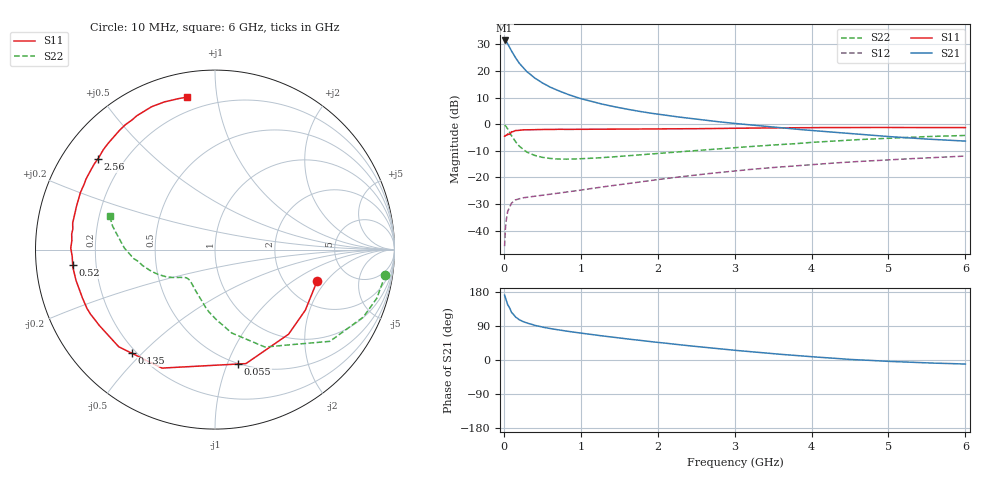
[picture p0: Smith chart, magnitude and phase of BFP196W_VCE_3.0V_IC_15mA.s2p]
! Infineon Technologies  Discrete & RF Semiconductors
! BFP196W
! VCE = 3.0 V,  IC =  15mA
! Common Emitter S-Parameters:  Jan 2016
# GHz  S  MA  R  50
!  f  S11  S21  S12  S22
! GHz  MAG  ANG  MAG  ANG  MAG  ANG  MAG  ANG
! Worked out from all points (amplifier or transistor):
!   210 points, 10 MHz to 6 GHz, reference 50 ohm
!   highest |S21| = 31.5 dB at 10 MHz (marker M1)
!   |S21| within 3 dB of that: start of sweep to 81.9 MHz
!   unconditionally stable (mu >= 1): 977.7 MHz to 3.33 GHz
!   at 185 MHz: K = 0.28, MSG = 25.9 dB, |S12| = -28.2 dB
!   at 1.52 GHz: K = 1.14, MAG = 12.1 dB, |S12| = -22.6 dB
!   at 6 GHz: K = 0.94, MSG = 2.8 dB, |S12| = -12.0 dB
!   S11 on the Smith chart (normalised r, x): 10 MHz: 2.99, -1.61; 55 MHz: 0.49, -1.09; 135 MHz: 0.18, -0.47; 520 MHz: 0.11, -0.05; 2.56 GHz: 0.11, +0.34; 6 GHz: 0.12, +0.82
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0.01  0.5955 -17.0  37.59 171.0  0.0051 80.4  0.9601 -8.4
0.02  0.6059 -33.8  37.45 165.2  0.0108 75.8  0.9411 -16.8
0.03  0.6247 -49.0  36.21 158.3  0.0151 71.2  0.9078 -24.5
0.05  0.6581 -74.8  32.67 145.9  0.0229 58.9  0.8193 -38.6
0.055  0.6499 -78.8  31.65 144.4  0.0238 56.7  0.7933 -40.4
0.1  0.7232 -114.1  23.83 125.5  0.0329 42.5  0.6098 -62.9
0.135  0.7404 -128.8  19.61 117.8  0.0362 36.5  0.51 -73.1
0.15  0.762 -134.7  17.94 113.5  0.0377 34.2  0.4736 -78.7
0.2  0.7706 -146.6  14.06 106.3  0.0397 30.7  0.3878 -89.3
0.26  0.785 -155.3  11.2 100.5  0.0416 28.8  0.3302 -98.6
0.3  0.7861 -159.9  9.709 97.4  0.0422 28.4  0.2984 -103.7
0.4  0.7932 -167.5  7.408 91.5  0.0443 28.9  0.2598 -113.3
0.52  0.7974 -173.8  5.785 86.1  0.0466 30.8  0.2364 -121.2
0.7  0.8037 179.4  4.327 79.8  0.0505 34.4  0.222 -128.5
1.02  0.8015 171.3  2.977 70.5  0.0583 40.4  0.2248 -135.7
1.4  0.8085 163.0  2.188 60.6  0.0699 45.4  0.2421 -140.2
2.02  0.819 151.4  1.533 46.1  0.0919 49.8  0.2824 -146.7
2.56  0.8254 142.2  1.216 34.4  0.1136 50.0  0.3252 -153.3
3.1  0.8417 133.4  1.004 24.0  0.1368 48.2  0.3713 -160.8
4.1  0.8642 119.0  0.745 7.2  0.1786 42.5  0.4652 -175.3
5.1  0.8687 108.1  0.575 -4.4  0.2177 35.2  0.5531 171.2
6  0.8641 100.5  0.482 -10.7  0.2522 28.9  0.6153 162.3
